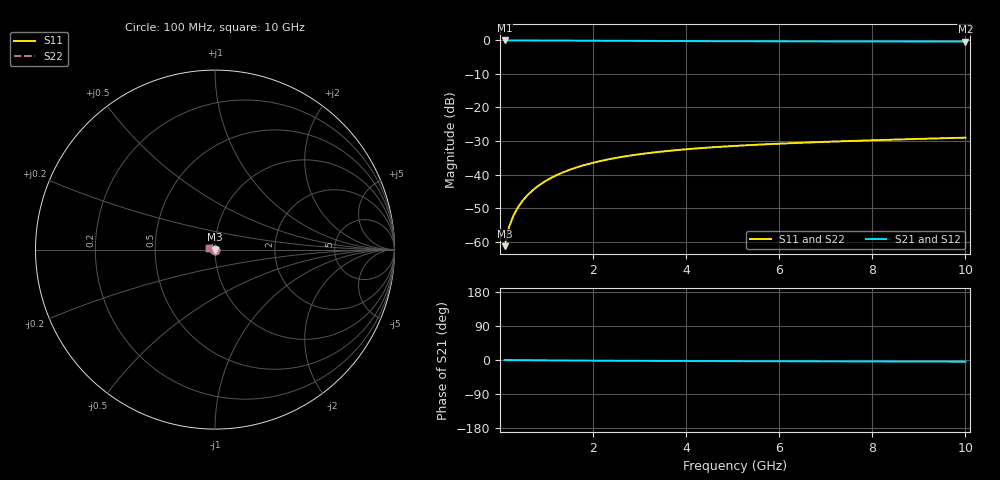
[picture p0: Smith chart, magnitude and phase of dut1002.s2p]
! Touchstone file exported from HFSS 2024.1.0
!  File:  C:/UserFiles/LocalFiles/RDL_TSV_Batchsim/temp_TSV1_1002_1780058087.aedt
!  Generated:  08:39:28 PM May 29, 2026
!  Design:  TSV1
!  Project:  temp_TSV1_1002_1780058087
!  Setup:  Setup1
!  Solution:  Sweep
! Variables:
!  dtsv = 8.16um
!  hbump = 3um
!  htsv = 67.44um
!  lrdl = 252.1521522um
!  p = 40
!  p1 = 47.87um
!  t = 500um
!  trdl = 3um
!  wrdl = 24.89489489um
# GHz S MA R 50.000000
! Terminal data exported
! Port[1] = TSV22_T1
! Port[2] = TSV22_T2
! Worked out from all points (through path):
!   100 points, 100 MHz to 10 GHz, reference 50 ohm
!   highest |S21| = 0.00 dB at 100 MHz (marker M1); lowest = -0.3 dB at 10 GHz (marker M2)
!   lowest |S11| = -61.4 dB at 100 MHz (marker M3), VSWR 1.00, Z = 50 - j0.0837 ohm
!   |S11| at or under -10 dB: start of sweep to end of sweep
!   |S22| runs from -61.4 to -29.0 dB; largest |S21 - S12| = 7.1e-15
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0.1  0.0008541 -78.6  0.9998 -0.1  0.9998 -0.1  0.0008541 -78.6
! Gamma 0 0 0 0
! Port Impedance 50 0 50 0
0.2  0.001687 -86.9  0.9997 -0.2  0.9997 -0.2  0.001687 -86.9
0.3  0.002523 -91.0  0.9995 -0.3  0.9995 -0.3  0.002523 -91.0
0.4  0.003354 -94.0  0.9993 -0.4  0.9993 -0.4  0.003354 -94.0
0.5  0.004179 -96.6  0.9991 -0.5  0.9991 -0.5  0.004179 -96.6
0.6  0.004996 -98.9  0.9988 -0.6  0.9988 -0.6  0.004996 -98.9
0.7  0.005804 -101.1  0.9984 -0.7  0.9984 -0.7  0.005804 -101.1
0.8  0.0066 -103.2  0.998 -0.8  0.998 -0.8  0.0066 -103.2
0.9  0.007384 -105.2  0.9976 -0.9  0.9976 -0.9  0.007384 -105.2
1.1  0.008912 -109.0  0.9966 -1.0  0.9966 -1.0  0.008912 -109.0
1.4  0.01109 -114.5  0.9949 -1.3  0.9949 -1.3  0.01109 -114.5
1.6  0.01245 -117.9  0.9936 -1.4  0.9936 -1.4  0.01245 -117.9
1.8  0.01375 -121.2  0.9923 -1.6  0.9923 -1.6  0.01375 -121.2
2.1  0.01556 -126.0  0.9903 -1.8  0.9903 -1.8  0.01556 -126.0
2.5  0.01773 -131.9  0.9875 -2.0  0.9875 -2.0  0.01773 -131.9
2.9  0.01964 -137.4  0.9849 -2.2  0.9849 -2.2  0.01965 -137.4
3.4  0.02172 -143.6  0.9818 -2.4  0.9818 -2.4  0.02172 -143.6
4.2  0.02444 -152.4  0.9775 -2.7  0.9775 -2.7  0.02444 -152.4
5.1  0.02686 -160.9  0.9736 -3.0  0.9736 -3.0  0.02686 -160.9
6.7  0.0302 -173.4  0.9686 -3.5  0.9686 -3.5  0.0302 -173.3
8.4  0.03306 176.1  0.9651 -4.0  0.9651 -4.0  0.03306 176.1
10  0.0355 167.7  0.9628 -4.5  0.9628 -4.5  0.0355 167.7
